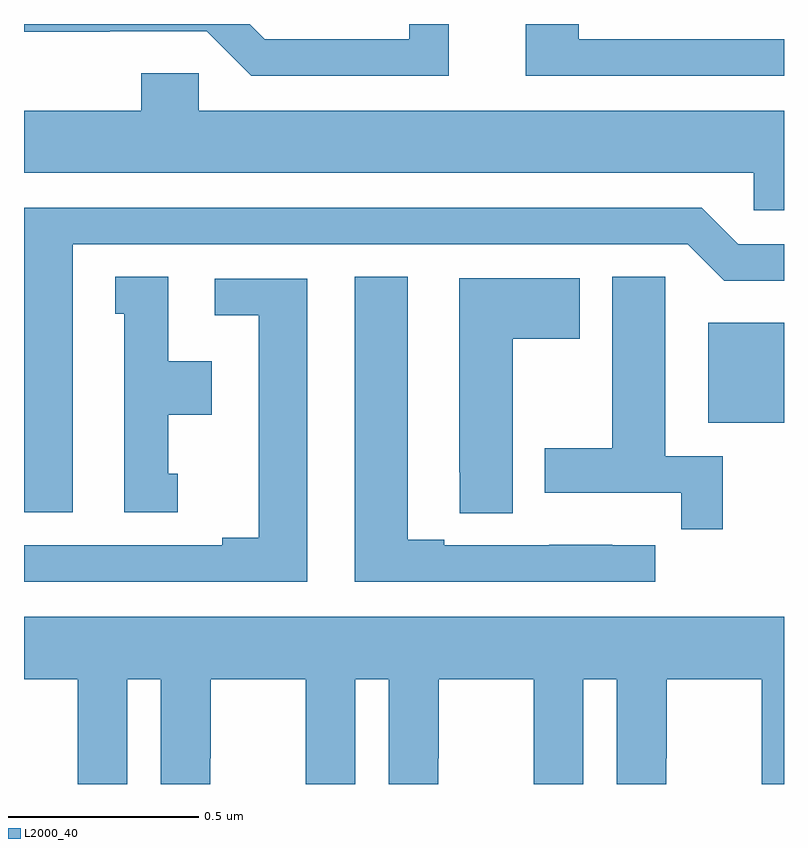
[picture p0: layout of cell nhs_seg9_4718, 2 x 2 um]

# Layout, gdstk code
import gdstk
lib = gdstk.Library(unit=1e-6, precision=1e-09)
def R(c, l, rs):  # rectangles x0, y0, x1, y1
    for r in rs: c.add(gdstk.rectangle(r[:2], r[2:], *l))
def P(c, l, *ps):  # polygons
    for p in ps: c.add(gdstk.Polygon(p, *l))
L2000_40 = (2000, 40)

nhs_seg9_4718 = lib.new_cell('nhs_seg9_4718')
R(nhs_seg9_4718, L2000_40, [(171.8,1174.451,172,1174.714)])
P(nhs_seg9_4718, L2000_40, [(172,1175.46),(171.46,1175.46),(171.46,1175.5),(171.32,1175.5),(171.32,1175.364),(172,1175.364)],
  [(171.118,1175.5),(171.014,1175.5),(171.014,1175.46),(170.634,1175.46),(170.594,1175.5),(170,1175.5),(170,1175.48),(170.225,1175.48),(170.225,1175.481),(170.481,1175.481),(170.598,1175.364),(171.118,1175.364)],
  [(172,1175.272),(170.46,1175.272),(170.46,1175.37),(170.309,1175.37),(170.309,1175.272),(170,1175.272),(170,1175.108),(171.921,1175.108),(171.921,1175.01),(172,1175.01)],
  [(170.128,1174.92),(171.747,1174.92),(171.843,1174.824),(172,1174.824),(172,1174.92),(171.879,1174.92),(171.783,1175.016),(170,1175.016),(170,1174.215),(170.128,1174.215)],
  [(171.661,1174.128),(171.548,1174.128),(171.548,1174.129),(171.382,1174.129),(171.382,1174.128),(171.106,1174.128),(171.106,1174.143),(171.01,1174.143),(171.01,1174.835),(170.87,1174.835),(170.87,1174.032),(171.661,1174.032)],
  [(171.839,1174.362),(171.688,1174.362),(171.688,1174.724),(171.687,1174.724),(171.687,1174.835),(171.548,1174.835),(171.548,1174.383),(171.371,1174.383),(171.371,1174.266),(171.73,1174.266),(171.73,1174.17),(171.839,1174.17)],
  [(170.404,1174.317),(170.38,1174.317),(170.38,1174.472),(170.494,1174.472),(170.494,1174.612),(170.38,1174.612),(170.38,1174.835),(170.24,1174.835),(170.24,1174.737),(170.264,1174.737),(170.264,1174.215),(170.404,1174.215)],
  [(171.286,1174.672),(171.463,1174.672),(171.463,1174.831),(171.146,1174.831),(171.146,1174.321),(171.147,1174.321),(171.147,1174.213),(171.286,1174.213)],
  [(170.746,1174.83),(170.502,1174.83),(170.502,1174.734),(170.618,1174.734),(170.618,1174.148),(170.522,1174.148),(170.522,1174.128),(170,1174.128),(170,1174.032),(170.746,1174.032)],
  [(170.272,1173.776),(170.36,1173.776),(170.36,1173.5),(170.49,1173.5),(170.49,1173.568),(170.491,1173.568),(170.491,1173.776),(170.741,1173.776),(170.741,1173.568),(170.742,1173.568),(170.742,1173.5),(170.872,1173.5),(170.872,1173.776),(170.96,1173.776),(170.96,1173.5),(171.09,1173.5),(171.09,1173.568),(171.091,1173.568),(171.091,1173.776),(171.341,1173.776),(171.341,1173.568),(171.342,1173.568),(171.342,1173.5),(171.472,1173.5),(171.472,1173.776),(171.56,1173.776),(171.56,1173.5),(171.69,1173.5),(171.69,1173.568),(171.691,1173.568),(171.691,1173.776),(171.941,1173.776),(171.941,1173.568),(171.942,1173.568),(171.942,1173.5),(172,1173.5),(172,1173.94),(170,1173.94),(170,1173.776),(170.141,1173.776),(170.141,1173.568),(170.142,1173.568),(170.142,1173.5),(170.272,1173.5)])

lib.write_gds('nhs_seg9_4718.gds')
